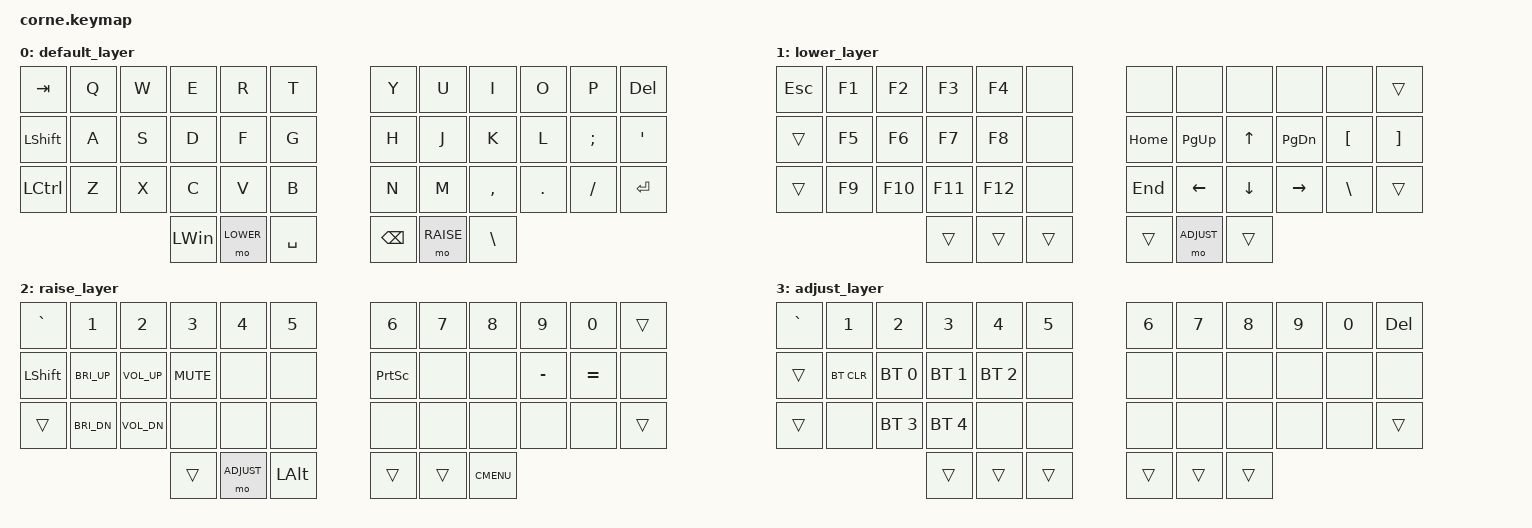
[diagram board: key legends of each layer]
/*
 * Copyright (c) 2020 The ZMK Contributors
 *
 * SPDX-License-Identifier: MIT
 */

#include <behaviors.dtsi>
#include <dt-bindings/zmk/keys.h>
#include <dt-bindings/zmk/bt.h>

#define DEFAULT 0
#define LOWER 1
#define RAISE 2
#define ADJUST 3 

/ {
        conditional_layers {
                compatible = "zmk,conditional-layers";
                tri_layer {
                        if-layers = <1 2>;
                        then-layer = <3>;
                };
        };
        keymap {
                compatible = "zmk,keymap";

                default_layer {
// -----------------------------------------------------------------------------------------
// |  TAB   |  Q    |  W   |  E      |  R      |  T       |   |  Y      |  U       |  I      |  O     |  P      | DEL    |
// | SHFT   |  A    |  S   |  D      |  F      |  G       |   |  H      |  J       |  K      |  L     |  ;      |  '     |
// | LCTRL  |  Z    |  X   |  C      |  V      |  B       |   |  N      |  M       |  ,      |  .     |  /      | ENT    |
//                         | WIN     | LOW     | SPC      |   | BKSP    | RSE      |  \      |
                        bindings = <
   &kp TAB    &kp Q  &kp W  &kp E     &kp R      &kp T         &kp Y     &kp U      &kp I      &kp O    &kp P     &kp DEL
   &kp LSHFT  &kp A  &kp S  &kp D     &kp F      &kp G         &kp H     &kp J      &kp K      &kp L    &kp SEMI  &kp SQT
   &kp LCTRL  &kp Z  &kp X  &kp C     &kp V      &kp B         &kp N     &kp M      &kp COMMA  &kp DOT  &kp FSLH  &kp RET
                            &kp LWIN  &mo LOWER  &kp SPACE     &kp BSPC  &mo RAISE  &kp BSLH
                        >;
                };

                lower_layer {
// -----------------------------------------------------------------------------------------
// | ESC     |  F1   |  F2    |  F3    |  F4    |        |   |         |           |         |          |          |  DEL   |
// | SHIFT   |  F5   |  F6    |  F7    |  F8    |        |   | HOME    |  PG_UP    |  UP     | PG_DN    |  [       |   ]    |
// | LCTRL   |  F9   |  F10   |  F11   |  F12   |        |   | END     |  LEFT     |  DWN    | RIGHT    |  \       |  ENT   |
//                            |  WIN   |        |  SPC   |   | BKSP    |  ADJUST   |  \      |
                        bindings = <
   &kp ESC    &kp F1  &kp F2   &kp F3   &kp F4   &none        &none     &none       &none     &none      &none      &trans
   &trans     &kp F5  &kp F6   &kp F7   &kp F8   &none        &kp HOME  &kp PG_UP   &kp UP    &kp PG_DN  &kp LBKT   &kp RBKT
   &trans     &kp F9  &kp F10  &kp F11  &kp F12  &none        &kp END   &kp LEFT    &kp DOWN  &kp RIGHT  &kp BSLH   &trans
                               &trans   &trans   &trans       &trans    &mo ADJUST  &trans
                        >;
                };

                raise_layer {
// -----------------------------------------------------------------------------------------
// | TAB     |  1          |  2          |   3       |  4        |   5       |   |   6       |   7        |  8        |  9       |  0       |  DEL  |
// | SHFT    |  BRI_UP     | VOL_UP      | MUTE      |           |           |   | PSCRN     |            |           |  -       |  =       |       |
// | LCTRL   |  BRI_DN     | VOL_DN      |           |           |           |   |           |            |           |          |          |  ENT  |
//                                       | GUI       | ADJUST    |  ALT      |   | BKSP      |            | MENU      |
                        bindings = <
   &kp GRAVE  &kp N1        &kp N2        &kp N3      &kp N4      &kp N5          &kp N6      &kp N7       &kp N8      &kp N9     &kp N0     &trans
   &kp LSHFT  &kp C_BRI_UP  &kp C_VOL_UP  &kp C_MUTE  &none       &none           &kp PSCRN   &none        &none       &kp MINUS  &kp EQUAL  &none
   &trans     &kp C_BRI_DN  &kp C_VOL_DN  &none       &none       &none           &none       &none        &none       &none      &none      &trans
                    	                  &trans      &mo ADJUST  &kp LALT        &trans      &trans       &kp K_CMENU
                        >;
                };

                adjust_layer {
// -----------------------------------------------------------------------------------------
// | `       |  1        |  2          |   3         |  4          |   5   |   |   6   |   7   |  8    |  9    |  0    |  DEL  |
// | SHFT    | BT_CLR    | BT 0        | BT 1        | BT 2        |       |   |       |       |       |       |       |       |
// | LCTRL   |           | BT 3        | BT 4        |             |       |   |       |       |       |       |       |  ENT  |
//                                     | GUI         |             | SPC   |   | ENT   |       | \     |
                        bindings = <
   &kp GRAVE  &kp N1      &kp N2        &kp N3        &kp N4        &kp N5      &kp N6  &kp N7  &kp N8  &kp N9  &kp N0  &kp DEL
   &trans     &bt BT_CLR  &bt BT_SEL 0  &bt BT_SEL 1  &bt BT_SEL 2  &none       &none   &none   &none   &none   &none   &none
   &trans     &none       &bt BT_SEL 3  &bt BT_SEL 4  &none         &none       &none   &none   &none   &none   &none   &trans
                                        &trans        &trans        &trans      &trans  &trans  &trans
                        >;  
                };
        };
};
